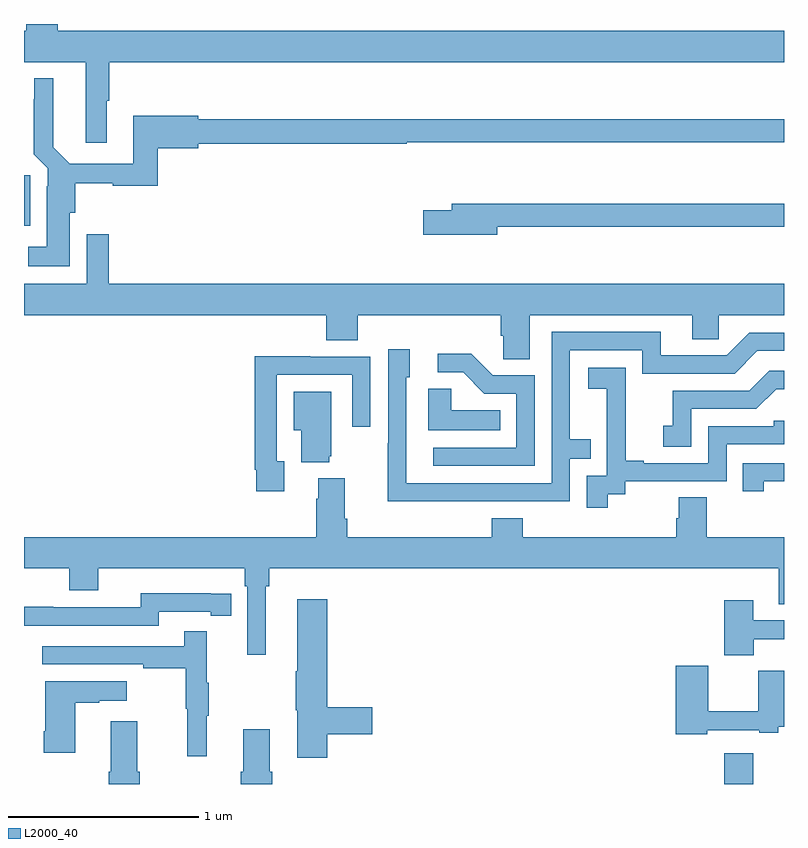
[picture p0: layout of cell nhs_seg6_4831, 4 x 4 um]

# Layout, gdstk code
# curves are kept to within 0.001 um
import gdstk
lib = gdstk.Library(unit=1e-6, precision=1e-09)
def R(c, l, rs):  # rectangles x0, y0, x1, y1
    for r in rs: c.add(gdstk.rectangle(r[:2], r[2:], *l))
def P(c, l, *ps):  # polygons
    for p in ps: c.add(gdstk.Polygon(p, *l))
L2000_40 = (2000, 40)

nhs_seg6_4831 = lib.new_cell('nhs_seg6_4831')
R(nhs_seg6_4831, L2000_40, [(400.685,979.5,400.837,979.663), (397,982.437,397.033,982.705)])
P(nhs_seg6_4831, L2000_40, [(397.435,983.096),(397.448,983.096),(397.448,983.3),(401,983.3),(401,983.464),(397.178,983.464),(397.178,983.5),(397.013,983.5),(397.013,983.464),(397,983.464),(397,983.3),(397.325,983.3),(397.325,982.875),(397.435,982.875)],
  [(397.24,982.506),(397.271,982.506),(397.271,982.663),(397.467,982.663),(397.467,982.648),(397.703,982.648),(397.703,982.847),(397.918,982.847),(397.918,982.87),(399.014,982.87),(399.014,982.878),(401,982.878),(401,982.999),(397.918,982.999),(397.918,983.017),(397.574,983.017),(397.574,982.764),(397.24,982.764),(397.153,982.852),(397.153,983.215),(397.055,983.215),(397.055,983.105),(397.051,983.105),(397.051,982.814),(397.125,982.74),(397.125,982.646),(397.121,982.646),(397.121,982.327),(397.023,982.327),(397.023,982.226),(397.24,982.226)],
  [(399.49,982.434),(401,982.434),(401,982.555),(399.251,982.555),(399.251,982.521),(399.102,982.521),(399.102,982.391),(399.49,982.391)],
  [(399.661,981.968),(400.517,981.968),(400.517,981.841),(400.656,981.841),(400.656,981.968),(401,981.968),(401,982.132),(397.445,982.132),(397.445,982.393),(397.329,982.393),(397.329,982.132),(397,982.132),(397,981.968),(398.591,981.968),(398.591,981.835),(398.756,981.835),(398.756,981.968),(399.509,981.968),(399.509,981.859),(399.522,981.859),(399.522,981.736),(399.661,981.736)],
  [(399.377,980.988),(399.873,980.988),(399.873,981.213),(399.983,981.213),(399.983,981.314),(399.873,981.314),(399.873,981.783),(400.254,981.783),(400.254,981.66),(400.74,981.66),(400.86,981.78),(401,981.78),(401,981.876),(400.818,981.876),(400.698,981.756),(400.351,981.756),(400.351,981.879),(399.777,981.879),(399.777,981.084),(399.012,981.084),(399.012,981.642),(399.031,981.642),(399.031,981.787),(398.916,981.787),(398.916,981.293),(398.914,981.293),(398.914,980.987)],
  [(399.687,981.651),(399.468,981.651),(399.355,981.764),(399.177,981.764),(399.177,981.666),(399.311,981.666),(399.422,981.555),(399.591,981.555),(399.591,981.27),(399.153,981.27),(399.153,981.174),(399.687,981.174)],
  [(398.371,981.198),(398.331,981.198),(398.331,981.654),(398.727,981.654),(398.727,981.381),(398.823,981.381),(398.823,981.75),(398.507,981.75),(398.507,981.752),(398.215,981.752),(398.215,981.154),(398.223,981.154),(398.223,981.042),(398.371,981.042)],
  [(400.072,981.025),(400.164,981.025),(400.164,981.093),(400.698,981.093),(400.698,981.288),(401,981.288),(401,981.411),(400.947,981.411),(400.947,981.384),(400.602,981.384),(400.602,981.189),(400.261,981.189),(400.261,981.202),(400.166,981.202),(400.166,981.485),(400.167,981.485),(400.167,981.691),(399.969,981.691),(399.969,981.581),(400.067,981.581),(400.067,981.353),(400.068,981.353),(400.068,981.123),(399.963,981.123),(399.963,980.955),(400.072,980.955)],
  [(400.512,981.474),(400.854,981.474),(400.958,981.578),(401,981.578),(401,981.675),(400.922,981.675),(400.817,981.57),(400.414,981.57),(400.414,981.385),(400.365,981.385),(400.365,981.276),(400.512,981.276)],
  [(399.506,981.466),(399.249,981.466),(399.249,981.581),(399.128,981.581),(399.128,981.362),(399.506,981.362)],
  [(398.606,981.225),(398.617,981.225),(398.617,981.565),(398.42,981.565),(398.42,981.362),(398.459,981.362),(398.459,981.194),(398.606,981.194)],
  [(400.894,981.093),(401,981.093),(401,981.189),(400.783,981.189),(400.783,981.042),(400.894,981.042)],
  [(398.272,980.54),(398.291,980.54),(398.291,980.636),(400.973,980.636),(400.973,980.446),(401,980.446),(401,980.8),(400.593,980.8),(400.593,981.008),(400.445,981.008),(400.445,980.898),(400.433,980.898),(400.433,980.8),(399.626,980.8),(399.626,980.899),(399.461,980.899),(399.461,980.8),(398.702,980.8),(398.702,980.896),(398.689,980.896),(398.689,981.109),(398.549,981.109),(398.549,981.002),(398.537,981.002),(398.537,980.8),(397,980.8),(397,980.636),(397.238,980.636),(397.238,980.519),(397.39,980.519),(397.39,980.636),(398.162,980.636),(398.162,980.54),(398.175,980.54),(398.175,980.181),(398.272,980.181)],
  [(397.71,980.406),(397.982,980.406),(397.982,980.386),(398.09,980.386),(398.09,980.502),(397.982,980.502),(397.982,980.503),(397.614,980.503),(397.614,980.43),(397.154,980.43),(397.154,980.432),(397,980.432),(397,980.334),(397.71,980.334)],
  [(398.597,979.762),(398.833,979.762),(398.833,979.904),(398.597,979.904),(398.597,980.473),(398.438,980.473),(398.438,980.093),(398.431,980.093),(398.431,979.887),(398.438,979.887),(398.438,979.638),(398.597,979.638)],
  [(400.84,980.262),(401,980.262),(401,980.361),(400.837,980.361),(400.837,980.467),(400.685,980.467),(400.685,980.177),(400.84,980.177)],
  [(397.961,979.859),(397.972,979.859),(397.972,980.033),(397.961,980.033),(397.961,980.305),(397.843,980.305),(397.843,980.226),(397.095,980.226),(397.095,980.13),(397.627,980.13),(397.627,980.11),(397.851,980.11),(397.851,979.896),(397.858,979.896),(397.858,979.647),(397.961,979.647)],
  [(400.596,979.782),(400.871,979.782),(400.871,979.77),(400.971,979.77),(400.971,979.802),(401,979.802),(401,980.095),(400.864,980.095),(400.864,979.883),(400.6,979.883),(400.6,980.122),(400.43,980.122),(400.43,979.762),(400.596,979.762)],
  [(397.27,979.927),(397.397,979.927),(397.397,979.937),(397.54,979.937),(397.54,980.041),(397.112,980.041),(397.112,979.777),(397.105,979.777),(397.105,979.665),(397.27,979.665)],
  [(397.61,979.564),(397.597,979.564),(397.597,979.831),(397.457,979.831),(397.457,979.564),(397.445,979.564),(397.445,979.5),(397.61,979.5)],
  [(398.306,979.564),(398.293,979.564),(398.293,979.789),(398.153,979.789),(398.153,979.564),(398.141,979.564),(398.141,979.5),(398.306,979.5)])

lib.write_gds('nhs_seg6_4831.gds')
